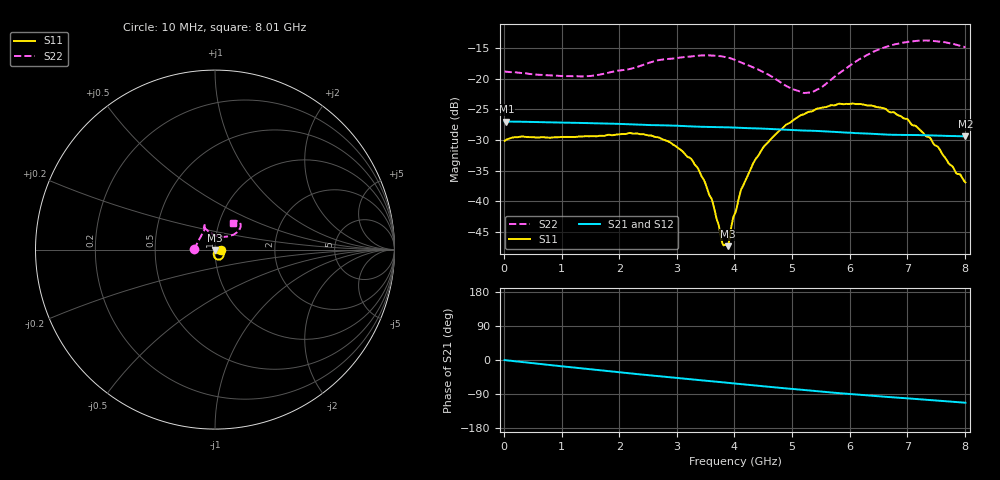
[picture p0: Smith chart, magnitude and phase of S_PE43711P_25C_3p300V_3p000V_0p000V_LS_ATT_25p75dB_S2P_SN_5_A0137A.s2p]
! Device ID: PE43711P
! File Path: z:\PE43711P\CHAR_NOM_04282014\AMB\3p300\LS_ATT_25p75dB\PE43711P_AMB_3p300V_3p000V_0p000V_LS_ATT_25p75dB_S2P_SN_5_A0137A.s2p
! Serial: 5
! Lot: A0137A
! Temp: 25C
! VDD: 3.300
! VSS: 0.000
! Control_Hi: 3.000
! Control_Lo: 0.000
! Attenuation Step: 25.75dB
! Port 1: RF1
! Port 2: RF2
! ThroughPath:1-2
! IDD: 0.000127545
! ISS: -1.619e-007
#  Hz  S  RI  R  50
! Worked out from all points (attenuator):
!   801 points, 10 MHz to 8.01 GHz, reference 50 ohm
!   highest |S21| = -26.99 dB at 40 MHz (marker M1); lowest = -29.4 dB at 8.01 GHz (marker M2)
!   lowest |S11| = -47.3 dB at 3.88 GHz (marker M3), VSWR 1.01, Z = 50.2 - j0.396 ohm
!   |S11| at or under -10 dB: start of sweep to end of sweep
!   |S22| runs from -22.3 to -13.8 dB; largest |S21 - S12| = 0.00011
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1e7  0.0311 0.000443  0.0447 -0.000163  0.0447 -0.000185  -0.1145 0.000885
4e7  0.0318 0.000747  0.0447 -0.000554  0.0447 -0.000551  -0.1137 0.00256
1.35e9  0.0338 -0.00119  0.0403 -0.0164  0.0404 -0.0164  -0.0874 0.0566
2.19e9  0.036 0.00117  0.0346 -0.0246  0.0347 -0.0246  -0.0636 0.1018
2.68e9  0.0329 0.00443  0.0307 -0.0282  0.0307 -0.0282  -0.0586 0.1287
3.06e9  0.0257 0.00572  0.0274 -0.0308  0.0274 -0.0308  -0.0581 0.1368
3.35e9  0.0185 0.00471  0.0247 -0.0322  0.0247 -0.0322  -0.0594 0.1411
3.61e9  0.0102 0.00123  0.0225 -0.0335  0.0225 -0.0335  -0.0626 0.1409
3.79e9  0.00407 -0.00207  0.0209 -0.0344  0.0209 -0.0344  -0.0645 0.1373
3.88e9  0.00173 -0.00395  0.02 -0.0348  0.0199 -0.0348  -0.0643 0.1338
4.01e9  -0.00141 -0.00783  0.0186 -0.0353  0.0186 -0.0353  -0.0631 0.1274
4.15e9  -0.004 -0.0128  0.0172 -0.0357  0.0172 -0.0357  -0.058 0.1202
4.34e9  -0.00704 -0.0198  0.0154 -0.0362  0.0155 -0.0362  -0.0497 0.112
4.51e9  -0.00743 -0.0269  0.0138 -0.0366  0.0138 -0.0366  -0.0411 0.105
4.9e9  -0.00291 -0.0421  0.00995 -0.037  0.00994 -0.0371  -0.0143 0.0859
5.19e9  0.00505 -0.0507  0.00727 -0.0371  0.00727 -0.0371  0.0113 0.0758
5.35e9  0.0102 -0.0532  0.00584 -0.0371  0.00585 -0.0372  0.0287 0.0719
6.05e9  0.0378 -0.0499  -0.000273 -0.0361  -0.000343 -0.0362  0.1026 0.0832
6.68e9  0.0474 -0.0257  -0.00466 -0.0346  -0.00464 -0.0347  0.14 0.1205
7e9  0.0447 -0.0141  -0.0067 -0.0341  -0.00669 -0.0341  0.1433 0.1383
7.39e9  0.033 -0.00281  -0.00942 -0.0332  -0.00938 -0.0331  0.1323 0.1556
8.01e9  0.0142 -0.00144  -0.0131 -0.0312  -0.0132 -0.0312  0.1004 0.1493
